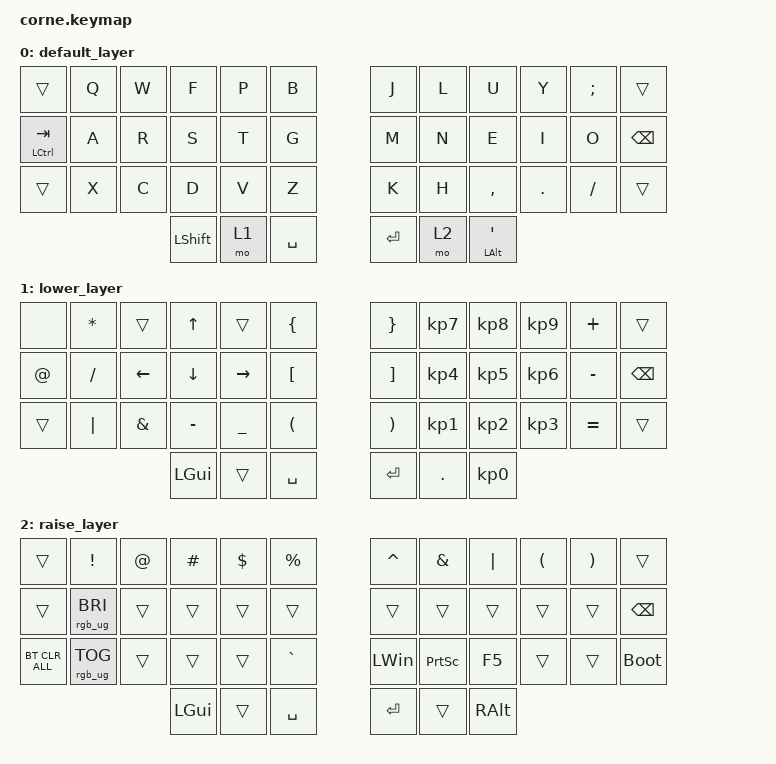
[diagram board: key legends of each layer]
/*
 * Copyright (c) 2020 The ZMK Contributors
 *
 * SPDX-License-Identifier: MIT
 */

#include <behaviors.dtsi>
#include <dt-bindings/zmk/bt.h>
#include <dt-bindings/zmk/keys.h>
#include <dt-bindings/zmk/rgb.h>

/ {
    combos {
        compatible = "zmk,combos";

        bootleft {
            bindings = <&bootloader>;
            key-positions = <0 12 24>;
        };

        bootrigt {
            bindings = <&bootloader>;
            key-positions = <11 23 35>;
        };

        ctrc {
            bindings = <&kp LC(C)>;
            key-positions = <26 27>;
        };

        ctrV {
            bindings = <&kp LC(V)>;
            key-positions = <27 28>;
        };
    };

    behaviors {
        hmr: hmr {
            compatible = "zmk,behavior-hold-tap";
            label = "HMR";
            bindings = <&kp>, <&kp>;

            #binding-cells = <2>;
            hold-trigger-key-positions = <14 15 16 19 20 21>;
            tapping-term-ms = <200>;
            quick-tap-ms = <175>;
            flavor = "balanced";
            require-prior-idle-ms = <100>;
        };
    };

    keymap {
        compatible = "zmk,keymap";

        default_layer {
            // -----------------------------------------------------------------------------------------
            // |  TAB |  Q  |  W  |  E  |  R  |  T  |   |  Y  |  U   |  I  |  O  |  P  | BSPC |
            // | CTRL |  A  |  S  |  D  |  F  |  G  |   |  H  |  J   |  K  |  L  |  ;  |  '   |
            // | SHFT |  Z  |  X  |  C  |  V  |  B  |   |  N  |  M   |  ,  |  .  |  /  | ESC  |
            //                    | GUI | LWR | SPC |   | ENT | RSE  | ALT |

            bindings = <
&trans          &kp Q  &kp W  &kp F           &kp P  &kp B        &kp J      &kp L  &kp U              &kp Y    &kp SEMICOLON  &trans
&hmr LCTRL TAB  &kp A  &kp R  &kp S           &kp T  &kp G        &kp M      &kp N  &kp E              &kp I    &kp O          &kp BACKSPACE
&trans          &kp X  &kp C  &kp D           &kp V  &kp Z        &kp K      &kp H  &kp COMMA          &kp DOT  &kp FSLH       &trans
                              &kp LEFT_SHIFT  &mo 1  &kp SPACE    &kp ENTER  &mo 2  &hmr LEFT_ALT SQT
            >;
        };

        lower_layer {
            // -----------------------------------------------------------------------------------------
            // |  TAB |  1  |  2  |  3  |  4  |  5  |   |  6  |  7  |  8  |  9  |  0  | BSPC |
            // | BTCLR| BT1 | BT2 | BT3 | BT4 | BT5 |   | LFT | DWN |  UP | RGT |     |      |
            // | SHFT |     |     |     |     |     |   |     |     |     |     |     |      |
            //                    | GUI |     | SPC |   | ENT |     | ALT |

            bindings = <
&none        &kp ASTERISK  &trans          &kp UP_ARROW    &trans           &kp LEFT_BRACE          &kp RIGHT_BRACE        &kp KP_N7        &kp KP_N8  &kp KP_N9  &kp PLUS   &trans
&kp AT_SIGN  &kp SLASH     &kp LEFT_ARROW  &kp DOWN_ARROW  &kp RIGHT_ARROW  &kp LEFT_BRACKET        &kp RIGHT_BRACKET      &kp KP_N4        &kp KP_N5  &kp KP_N6  &kp MINUS  &kp BACKSPACE
&trans       &kp PIPE      &kp AMPERSAND   &kp MINUS       &kp UNDERSCORE   &kp LEFT_PARENTHESIS    &kp RIGHT_PARENTHESIS  &kp KP_NUMBER_1  &kp KP_N2  &kp KP_N3  &kp EQUAL  &trans
                                           &kp LGUI        &trans           &kp SPACE               &kp RET                &kp DOT          &kp KP_N0
            >;
        };

        raise_layer {
            // -----------------------------------------------------------------------------------------
            // |  TAB |  !  |  @  |  #  |  $  |  %  |   |  ^  |  &  |  *  |  (  |  )  | BSPC |
            // | CTRL |     |     |     |     |     |   |  -  |  =  |  [  |  ]  |  \  |  `   |
            // | SHFT |     |     |     |     |     |   |  _  |  +  |  {  |  }  | "|" |  ~   |
            //                    | GUI |     | SPC |   | ENT |     | ALT |

            bindings = <
&trans          &kp EXCL         &kp AT  &kp HASH  &kp DLLR  &kp PRCNT    &kp CARET     &kp AMPS         &kp PIPE  &kp LPAR  &kp RPAR  &trans
&trans          &rgb_ug RGB_BRI  &trans  &trans    &trans    &trans       &trans        &trans           &trans    &trans    &trans    &kp BACKSPACE
&bt BT_CLR_ALL  &rgb_ug RGB_TOG  &trans  &trans    &trans    &kp GRAVE    &kp LEFT_WIN  &kp PRINTSCREEN  &kp F5    &trans    &trans    &bootloader
                                         &kp LGUI  &trans    &kp SPACE    &kp RET       &trans           &kp RALT
            >;
        };
    };
};
